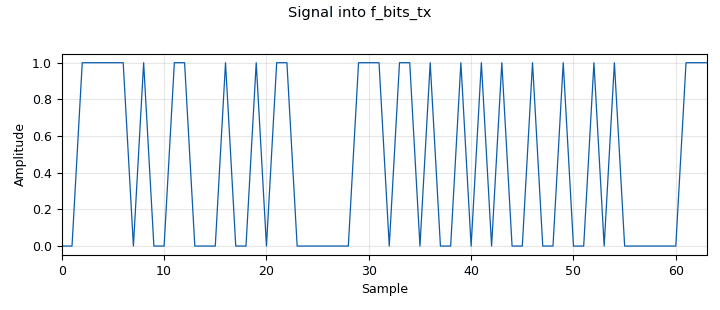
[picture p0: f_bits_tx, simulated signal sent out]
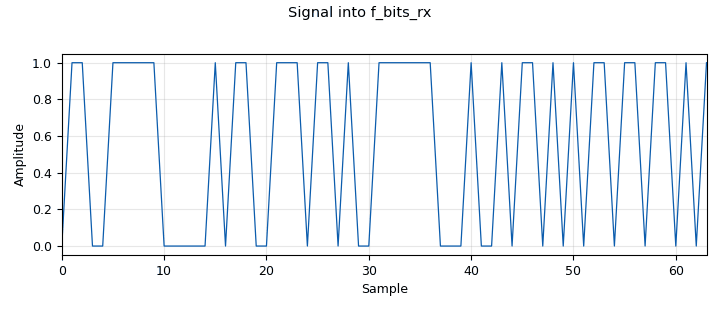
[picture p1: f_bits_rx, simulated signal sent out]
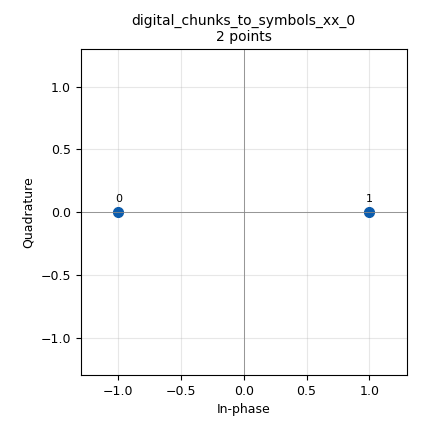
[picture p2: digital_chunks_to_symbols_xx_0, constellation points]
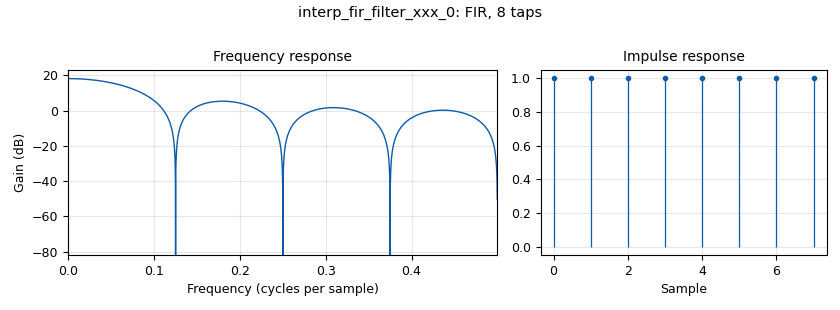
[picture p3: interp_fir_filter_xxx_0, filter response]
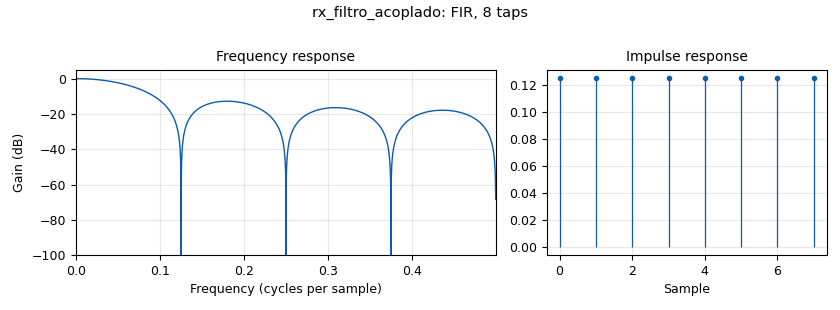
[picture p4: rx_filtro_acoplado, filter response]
options:
  parameters:
    author: 'Grupo 5: Elkin Largo, Stiven Muñoz, Minuk Lee'
    comment: GRC para analizar ruido AWGN en modulaciones basadas en constelaciones
    description: Copia para hardware del transmisor. radio_rate = bb_rate*125/16 = 2 MS/s. LO desplazado lo_off para alejar la senal del spur DC. El canal eco puede EMULARSE digitalmente (eco_alpha) para pruebas conducidas por cable; con eco_alpha=0 se transmite la senal limpia.
    generate_options: no_gui
    id: S3_BPSK_Grupo5_verif_sync
    output_language: python
    run_options: run
    title: Verificacion en simulacion del RX de hardware (offset de frecuencia y reloj)
  states: {}

blocks:
- name: M
  id: variable
  parameters:
    value: len(tabla_de_verdad_constelacion)
  states: {}
- name: Rb
  id: variable
  parameters:
    value: Rs*bps
  states: {}
- name: Rs
  id: variable
  parameters:
    value: '32000'
  states: {}
- name: Sps
  id: variable
  parameters:
    value: '8'
  states: {}
- name: bps
  id: variable
  parameters:
    value: int(math.log(M,2))
  states: {}
- name: h
  id: variable
  parameters:
    value: '[1]*Sps'
  states: {}
- name: samp_rate
  id: variable
  parameters:
    value: Rs*Sps
  states: {}
- name: tabla_de_verdad_constelacion
  id: variable
  parameters:
    comment: Cambie esta tabla para OOK ASK BPSK QPSK 8PSK o 16QAM
    value: (-1+0j, 1+0j)
  states: {}
- name: analog_random_source_x_0
  id: analog_random_source_x
  parameters:
    max: '2'
    min: '0'
    num_samps: '1000'
    repeat: 'True'
    type: byte
  states: {}
- name: blocks_pack_k_bits_bb_0
  id: blocks_pack_k_bits_bb
  parameters:
    k: '8'
  states: {}
- name: blocks_packed_to_unpacked_xx_0
  id: blocks_packed_to_unpacked_xx
  parameters:
    bits_per_chunk: bps
    endianness: gr.GR_MSB_FIRST
    type: byte
  states: {}
- name: digital_chunks_to_symbols_xx_0
  id: digital_chunks_to_symbols_xx
  parameters:
    dimension: '1'
    in_type: byte
    out_type: complex
    symbol_table: tabla_de_verdad_constelacion
  states: {}
- name: import_0
  id: import
  parameters:
    imports: import math, cmath
  states: {}
- name: interp_fir_filter_xxx_0
  id: interp_fir_filter_xxx
  parameters:
    interp: Sps
    taps: h
    type: ccf
  states: {}
- name: D_eco
  id: variable
  parameters:
    value: Sps
  states: {}
- name: eco_fase_deg
  id: variable
  parameters:
    value: '0'
  states: {}
- name: alpha_c
  id: variable
  parameters:
    value: eco_alpha*cmath.exp(1j*math.radians(eco_fase_deg))
  states: {}
- name: canal_eco_retardo
  id: blocks_delay
  parameters:
    type: complex
    delay: D_eco
  states: {}
- name: canal_eco_ganancia
  id: blocks_multiply_const_vxx
  parameters:
    type: complex
    const: alpha_c
  states: {}
- name: canal_suma_eco
  id: blocks_add_xx
  parameters:
    type: complex
  states: {}
- name: fc
  id: variable
  parameters:
    value: 960e6
  states: {}
- name: lo_off
  id: variable
  parameters:
    value: 200e3
  states: {}
- name: radio_rate
  id: variable
  parameters:
    value: 2e6
  states: {}
- name: bb_rate
  id: variable
  parameters:
    value: samp_rate
  states: {}
- name: interp_hw
  id: variable
  parameters:
    value: '125'
  states: {}
- name: decim_hw
  id: variable
  parameters:
    value: '16'
  states: {}
- name: rational_resampler_xxx_0
  id: rational_resampler_xxx
  parameters:
    comment: 256 kS/s x 125/16 = 2 MS/s
    decim: decim_hw
    interp: interp_hw
    type: ccc
  states: {}
- name: tx_desplaza
  id: freq_xlating_fir_filter_xxx
  parameters:
    center_freq: '-lo_off'
    decim: '1'
    samp_rate: radio_rate
    taps: '[1]'
    type: ccc
  states: {}
- name: tx_amp
  id: variable
  parameters:
    value: '0.5'
  states: {}
- name: tx_vga
  id: variable
  parameters:
    value: '20'
  states: {}
- name: tx_escala
  id: blocks_multiply_const_vxx
  parameters:
    type: complex
    const: tx_amp
  states: {}
- name: eco_alpha
  id: variable
  parameters:
    value: '0'
  states: {}
- name: cfo_hz
  id: parameter
  parameters:
    label: offset frecuencia Hz
    short_id: f
    type: eng_float
    value: '1500'
  states: {}
- name: eps_ppm
  id: parameter
  parameters:
    label: error reloj ppm
    short_id: e
    type: eng_float
    value: '50'
  states: {}
- name: ruido_v
  id: parameter
  parameters:
    label: ruido
    short_id: n
    type: eng_float
    value: '0.05'
  states: {}
- name: canal_hw
  id: channels_channel_model
  parameters:
    comment: incluye el corrimiento neto -2*lo_off entre LO de Tx (fc-lo_off) y Rx (fc+lo_off)
    noise_voltage: ruido_v
    freq_offset: (cfo_hz-2*lo_off)/radio_rate
    epsilon: 1+eps_ppm*1e-6
    taps: '[1.0]'
    seed: '7'
  states: {}
- name: limite_bits
  id: blocks_head
  parameters:
    type: byte
    num_items: '160000'
  states: {}
- name: h_mf
  id: variable
  parameters:
    value: '[1.0/Sps]*Sps'
  states: {}
- name: rx_desplaza
  id: freq_xlating_fir_filter_xxx
  parameters:
    center_freq: '-lo_off'
    decim: '1'
    samp_rate: radio_rate
    taps: '[1]'
    type: ccc
  states: {}
- name: rx_bb
  id: rational_resampler_xxx
  parameters:
    comment: 2 MS/s x 16/125 = 256 kS/s
    decim: interp_hw
    interp: decim_hw
    type: ccc
  states: {}
- name: rx_agc
  id: analog_agc_xx
  parameters:
    type: complex
    rate: '1e-3'
    reference: '1.0'
    gain: '1.0'
    max_gain: '65536'
  states: {}
- name: rx_filtro_acoplado
  id: fir_filter_xxx
  parameters:
    type: ccf
    decim: '1'
    taps: h_mf
  states: {}
- name: rx_sync_simbolo
  id: digital_symbol_sync_xx
  parameters:
    type: cc
    ted_type: digital.TED_GARDNER
    sps: Sps
    ted_gain: '1.0'
    loop_bw: '0.01'
    damping: '1.0'
    max_dev: '1.5'
    osps: '1'
    resamp_type: digital.IR_MMSE_8TAP
  states: {}
- name: rx_costas
  id: digital_costas_loop_cc
  parameters:
    w: 2*math.pi/200
    order: '2'
  states: {}
- name: rx_real_decision
  id: blocks_complex_to_real
  parameters: {}
  states: {}
- name: rx_decision
  id: digital_binary_slicer_fb
  parameters: {}
  states: {}
- name: f_bits_tx
  id: blocks_file_sink
  parameters:
    file: '"verif_bits_tx.bin"'
    type: byte
  states: {}
- name: f_bits_rx
  id: blocks_file_sink
  parameters:
    file: '"verif_bits_rx.bin"'
    type: byte
  states: {}
- name: f_sym
  id: blocks_file_sink
  parameters:
    file: '"verif_simbolos.bin"'
    type: complex
  states: {}

connections:
- [blocks_pack_k_bits_bb_0, '0', blocks_packed_to_unpacked_xx_0, '0']
- [blocks_packed_to_unpacked_xx_0, '0', digital_chunks_to_symbols_xx_0, '0']
- [digital_chunks_to_symbols_xx_0, '0', interp_fir_filter_xxx_0, '0']
- [interp_fir_filter_xxx_0, '0', canal_suma_eco, '0']
- [interp_fir_filter_xxx_0, '0', canal_eco_retardo, '0']
- [canal_eco_retardo, '0', canal_eco_ganancia, '0']
- [canal_eco_ganancia, '0', canal_suma_eco, '1']
- [canal_suma_eco, '0', tx_escala, '0']
- [tx_escala, '0', rational_resampler_xxx_0, '0']
- [rational_resampler_xxx_0, '0', tx_desplaza, '0']
- [analog_random_source_x_0, '0', limite_bits, '0']
- [limite_bits, '0', blocks_pack_k_bits_bb_0, '0']
- [tx_desplaza, '0', canal_hw, '0']
- [canal_hw, '0', rx_desplaza, '0']
- [rx_desplaza, '0', rx_bb, '0']
- [rx_bb, '0', rx_agc, '0']
- [rx_agc, '0', rx_filtro_acoplado, '0']
- [rx_filtro_acoplado, '0', rx_sync_simbolo, '0']
- [rx_sync_simbolo, '0', rx_costas, '0']
- [rx_costas, '0', rx_real_decision, '0']
- [rx_real_decision, '0', rx_decision, '0']
- [blocks_packed_to_unpacked_xx_0, '0', f_bits_tx, '0']
- [rx_decision, '0', f_bits_rx, '0']
- [rx_costas, '0', f_sym, '0']

metadata:
  file_format: 1
  grc_version: 3.10.12.0
